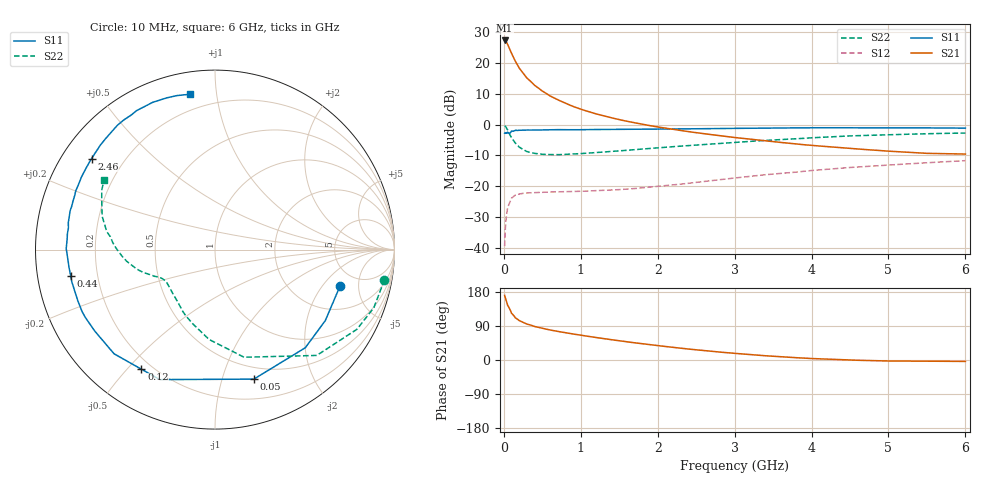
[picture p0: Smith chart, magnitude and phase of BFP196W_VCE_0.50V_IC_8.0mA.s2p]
! Infineon Technologies  Discrete & RF Semiconductors
! BFP196W
! VCE = 0.50V,  IC = 8.0mA
! Common Emitter S-Parameters:  Jan 2016
# GHz  S  MA  R  50
!  f  S11  S21  S12  S22
! GHz  MAG  ANG  MAG  ANG  MAG  ANG  MAG  ANG
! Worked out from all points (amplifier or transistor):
!   210 points, 10 MHz to 6 GHz, reference 50 ohm
!   highest |S21| = 27.3 dB at 10 MHz (marker M1)
!   |S21| within 3 dB of that: start of sweep to 78.51 MHz
!   unconditionally stable (mu >= 1): 1.174 GHz to end of sweep
!   at 185 MHz: K = 0.19, MSG = 20.8 dB, |S12| = -22.6 dB
!   at 1.52 GHz: K = 1.18, MAG = 8.7 dB, |S12| = -21.0 dB
!   at 6 GHz: K = 1.09, MAG = -0.8 dB, |S12| = -11.7 dB
!   S11 on the Smith chart (normalised r, x): 10 MHz: 3.52, -3.05; 50 MHz: 0.38, -1.27; 120 MHz: 0.16, -0.55; 440 MHz: 0.10, -0.09; 2.46 GHz: 0.09, +0.33; 6 GHz: 0.11, +0.84
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0.01  0.7254 -16.4  23.11 170.6  0.0107 79.9  0.9592 -10.1
0.02  0.7309 -32.8  23.04 164.2  0.0212 74.5  0.9423 -20.1
0.03  0.743 -47.4  22.2 157.1  0.0305 68.2  0.907 -29.3
0.05  0.7534 -73.3  19.84 144.0  0.0454 55.9  0.8181 -46.1
0.1  0.7868 -113.0  14.21 123.3  0.0643 37.5  0.6211 -74.9
0.12  0.7824 -121.6  12.7 119.3  0.0672 33.4  0.5662 -81.5
0.15  0.8082 -134.1  10.6 111.2  0.0721 27.9  0.5015 -93.8
0.2  0.8092 -145.9  8.243 104.0  0.0749 23.1  0.432 -106.6
0.24  0.8153 -152.4  7.067 99.9  0.0766 20.6  0.4022 -114.0
0.3  0.8157 -159.6  5.683 94.8  0.078 18.1  0.3653 -123.0
0.4  0.8178 -167.4  4.328 88.4  0.0789 16.4  0.3418 -132.9
0.44  0.8174 -169.6  3.991 86.7  0.0793 16.2  0.3367 -135.4
0.6  0.822 -176.9  2.92 79.2  0.0807 15.7  0.3269 -143.7
0.7  0.8291 179.6  2.529 75.4  0.0813 16.4  0.3251 -146.5
1.02  0.8266 171.2  1.743 64.8  0.0831 19.4  0.34 -152.2
1.4  0.834 163.2  1.286 53.4  0.0871 24.2  0.3677 -156.1
2.02  0.8469 151.4  0.907 37.5  0.1 33.0  0.4207 -162.6
2.46  0.8545 143.6  0.751 27.7  0.114 36.6  0.4626 -168.1
3.1  0.8706 132.9  0.599 16.1  0.1405 38.3  0.5254 -177.0
4.1  0.8885 118.1  0.45 3.1  0.1844 35.2  0.6192 169.1
5.1  0.8861 106.8  0.365 -2.7  0.2248 28.6  0.6898 156.2
6  0.8767 99.2  0.333 -3.7  0.2603 22.7  0.73 147.9
